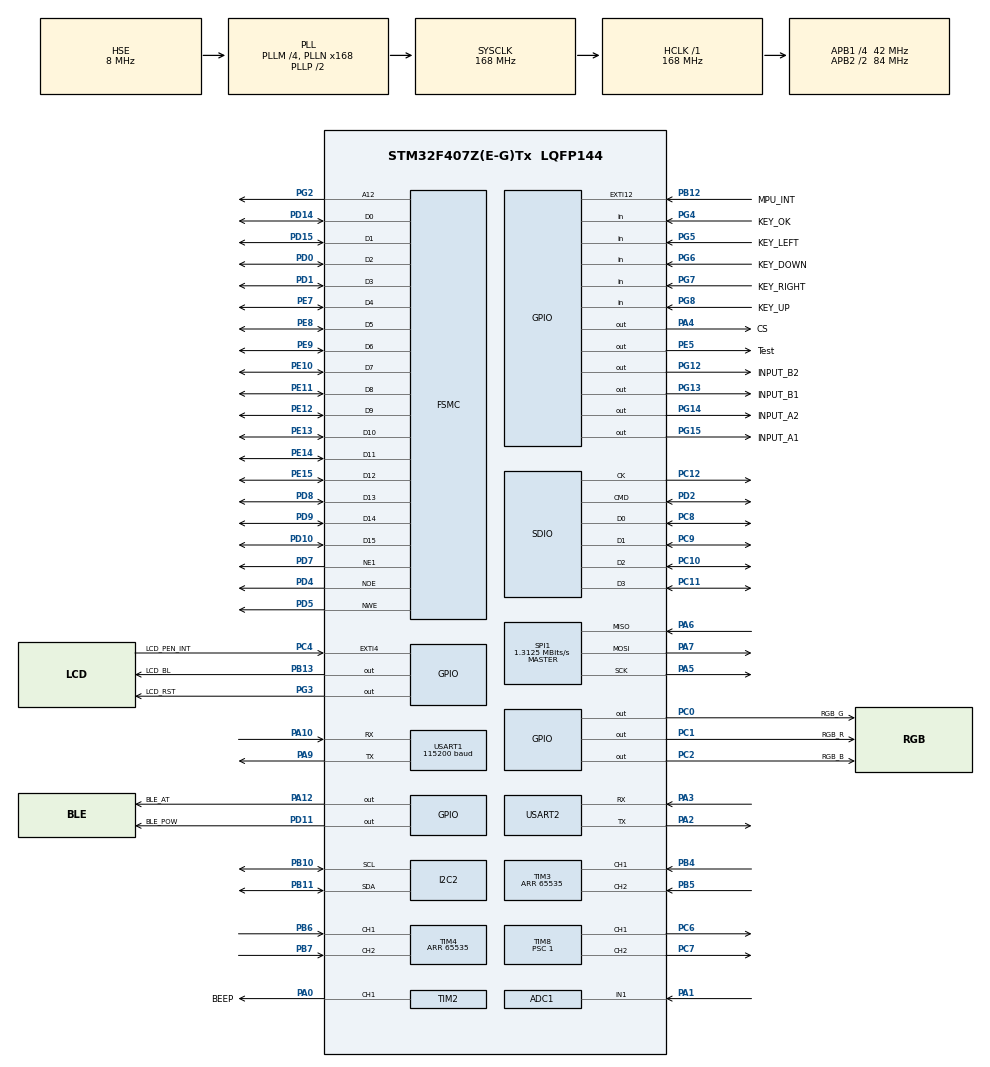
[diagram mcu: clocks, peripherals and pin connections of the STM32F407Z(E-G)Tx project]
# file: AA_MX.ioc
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ADC1.Channel-3\#ChannelRegularConversion=ADC_CHANNEL_1
ADC1.NbrOfConversionFlag=1
ADC1.Rank-3\#ChannelRegularConversion=1
ADC1.SamplingTime-3\#ChannelRegularConversion=ADC_SAMPLETIME_3CYCLES
ADC1.master=1
Dma.Request0=SDIO_RX
Dma.Request1=SDIO_TX
Dma.SDIO_RX.0.Direction=DMA_PERIPH_TO_MEMORY
Dma.SDIO_RX.0.FIFOMode=DMA_FIFOMODE_ENABLE
Dma.SDIO_RX.0.FIFOThreshold=DMA_FIFO_THRESHOLD_FULL
Dma.SDIO_RX.0.Instance=DMA2_Stream3
Dma.SDIO_RX.0.MemBurst=DMA_MBURST_INC4
Dma.SDIO_RX.0.MemDataAlignment=DMA_MDATAALIGN_WORD
Dma.SDIO_RX.0.MemInc=DMA_MINC_ENABLE
Dma.SDIO_RX.0.Mode=DMA_PFCTRL
Dma.SDIO_RX.0.PeriphBurst=DMA_PBURST_INC4
Dma.SDIO_RX.0.PeriphDataAlignment=DMA_PDATAALIGN_WORD
Dma.SDIO_RX.0.PeriphInc=DMA_PINC_DISABLE
Dma.SDIO_RX.0.Priority=DMA_PRIORITY_LOW
Dma.SDIO_TX.1.Direction=DMA_MEMORY_TO_PERIPH
Dma.SDIO_TX.1.FIFOMode=DMA_FIFOMODE_ENABLE
Dma.SDIO_TX.1.FIFOThreshold=DMA_FIFO_THRESHOLD_FULL
Dma.SDIO_TX.1.Instance=DMA2_Stream6
Dma.SDIO_TX.1.MemBurst=DMA_MBURST_INC4
Dma.SDIO_TX.1.MemDataAlignment=DMA_MDATAALIGN_WORD
Dma.SDIO_TX.1.MemInc=DMA_MINC_ENABLE
Dma.SDIO_TX.1.Mode=DMA_PFCTRL
Dma.SDIO_TX.1.PeriphBurst=DMA_PBURST_INC4
Dma.SDIO_TX.1.PeriphDataAlignment=DMA_PDATAALIGN_WORD
Dma.SDIO_TX.1.PeriphInc=DMA_PINC_DISABLE
Dma.SDIO_TX.1.Priority=DMA_PRIORITY_LOW
FATFS.USE_DMA_CODE_SD=1
FATFS._CODE_PAGE=850
FATFS._FS_NORTC=0
FATFS._FS_TIMEOUT=100
FATFS._MAX_SS=512
FATFS._STRF_ENCODE=0
FATFS._USE_LFN=2
FSMC.AddressSetupTime1=0
FSMC.DataSetupTime1=60
FSMC.ExtendedAddressSetupTime1=0
FSMC.ExtendedDataSetupTime1=2
FSMC.ExtendedMode1=FSMC_EXTENDED_MODE_ENABLE
I2C2.I2C_Mode=I2C_Fast
Mcu.Family=STM32F4
Mcu.Name=STM32F407Z(E-G)Tx
Mcu.Package=LQFP144
NVIC.ADC_IRQn=true\:2\:0\:true\:false\:true\:true\:true
NVIC.DMA2_Stream3_IRQn=true\:0\:0\:false\:false\:true\:false\:true
NVIC.DMA2_Stream6_IRQn=true\:0\:0\:false\:false\:true\:false\:true
NVIC.EXTI15_10_IRQn=true\:2\:0\:true\:false\:true\:true\:true
NVIC.EXTI4_IRQn=true\:2\:0\:true\:false\:true\:true\:true
NVIC.PriorityGroup=NVIC_PRIORITYGROUP_2
NVIC.SDIO_IRQn=true\:0\:0\:false\:false\:true\:true\:true
NVIC.TIM5_IRQn=true\:2\:0\:true\:false\:true\:true\:true
NVIC.TIM7_IRQn=true\:2\:0\:true\:false\:true\:true\:true
NVIC.USART1_IRQn=true\:2\:0\:true\:false\:true\:true\:true
NVIC.USART2_IRQn=true\:2\:0\:true\:false\:true\:true\:true
PA0-WKUP.GPIO_Label=BEEP
PA0-WKUP.Signal=S_TIM2_CH1_ETR
PA1.Signal=ADCx_IN1
PA10.Mode=Asynchronous
PA10.Signal=USART1_RX
PA11.Signal=S_TIM1_CH4
PA12.GPIO_Label=BLE_AT
PA12.PinState=GPIO_PIN_RESET
PA12.Signal=GPIO_Output
PA13.Mode=Serial_Wire
PA13.Signal=SYS_JTMS-SWDIO
PA14.Mode=Serial_Wire
PA14.Signal=SYS_JTCK-SWCLK
PA2.Mode=Asynchronous
PA2.Signal=USART2_TX
PA3.Mode=Asynchronous
PA3.Signal=USART2_RX
PA4.GPIO_Label=CS
PA4.GPIO_PuPd=GPIO_PULLUP
PA4.GPIO_Speed=GPIO_SPEED_FREQ_HIGH
PA4.PinState=GPIO_PIN_SET
PA4.Signal=GPIO_Output
PA5.Mode=Full_Duplex_Master
PA5.Signal=SPI1_SCK
PA6.Mode=Full_Duplex_Master
PA6.Signal=SPI1_MISO
PA7.GPIO_PuPd=GPIO_NOPULL
PA7.Mode=Full_Duplex_Master
PA7.Signal=SPI1_MOSI
PA8.Signal=S_TIM1_CH1
PA9.GPIO_PuPd=GPIO_PULLUP
PA9.Mode=Asynchronous
PA9.Signal=USART1_TX
PB10.Mode=I2C
PB10.Signal=I2C2_SCL
PB11.Mode=I2C
PB11.Signal=I2C2_SDA
PB12.GPIO_Label=MPU_INT
PB12.GPIO_ModeDefaultEXTI=GPIO_MODE_IT_FALLING
PB12.GPIO_PuPd=GPIO_NOPULL
PB12.Signal=GPXTI12
PB13.GPIO_Label=LCD_BL
PB13.Signal=GPIO_Output
PB4.Signal=S_TIM3_CH1
PB5.Signal=S_TIM3_CH2
PB6.Signal=S_TIM4_CH1
PB7.Signal=S_TIM4_CH2
PC0.GPIO_Label=RGB_G
PC0.PinState=GPIO_PIN_SET
PC0.Signal=GPIO_Output
PC1.GPIO_Label=RGB_R
PC1.PinState=GPIO_PIN_SET
PC1.Signal=GPIO_Output
PC10.GPIO_PuPd=GPIO_PULLUP
PC10.Mode=SD_4_bits_Wide_bus
PC10.Signal=SDIO_D2
PC11.GPIO_PuPd=GPIO_PULLUP
PC11.Mode=SD_4_bits_Wide_bus
PC11.Signal=SDIO_D3
PC12.Mode=SD_4_bits_Wide_bus
PC12.Signal=SDIO_CK
PC2.GPIO_Label=RGB_B
PC2.PinState=GPIO_PIN_SET
PC2.Signal=GPIO_Output
PC4.GPIO_Label=LCD_PEN_INT
PC4.GPIO_ModeDefaultEXTI=GPIO_MODE_IT_FALLING
PC4.GPIO_PuPd=GPIO_NOPULL
PC4.Signal=GPXTI4
PC6.Signal=S_TIM8_CH1
PC7.Signal=S_TIM8_CH2
PC8.GPIO_PuPd=GPIO_PULLUP
PC8.Mode=SD_4_bits_Wide_bus
PC8.Signal=SDIO_D0
PC9.GPIO_PuPd=GPIO_PULLUP
PC9.Mode=SD_4_bits_Wide_bus
PC9.Signal=SDIO_D1
PD0.Signal=FSMC_D2_DA2
PD1.Signal=FSMC_D3_DA3
PD10.Signal=FSMC_D15_DA15
PD11.GPIO_Label=BLE_POW
PD11.PinState=GPIO_PIN_SET
PD11.Signal=GPIO_Output
PD14.Signal=FSMC_D0_DA0
PD15.Signal=FSMC_D1_DA1
PD2.GPIO_PuPd=GPIO_PULLUP
PD2.Mode=SD_4_bits_Wide_bus
PD2.Signal=SDIO_CMD
PD4.Signal=FSMC_NOE
PD5.Signal=FSMC_NWE
PD7.Mode=NorPsramChipSelect1_1
PD7.Signal=FSMC_NE1
PD8.Signal=FSMC_D13_DA13
PD9.Signal=FSMC_D14_DA14
PE10.Signal=FSMC_D7_DA7
PE11.Signal=FSMC_D8_DA8
PE12.Signal=FSMC_D9_DA9
PE13.Signal=FSMC_D10_DA10
PE14.Signal=FSMC_D11_DA11
PE15.Signal=FSMC_D12_DA12
PE5.GPIO_Label=Test
PE5.Signal=GPIO_Output
PE6.Signal=S_TIM9_CH2
PE7.Signal=FSMC_D4_DA4
PE8.Signal=FSMC_D5_DA5
PE9.Signal=FSMC_D6_DA6
PG12.GPIO_Label=INPUT_B2
PG12.Signal=GPIO_Output
PG13.GPIO_Label=INPUT_B1
PG13.Signal=GPIO_Output
PG14.GPIO_Label=INPUT_A2
PG14.Signal=GPIO_Output
PG15.GPIO_Label=INPUT_A1
PG15.Signal=GPIO_Output
PG2.Signal=FSMC_A12
PG3.GPIO_Label=LCD_RST
PG3.PinState=GPIO_PIN_SET
PG3.Signal=GPIO_Output
PG4.GPIO_Label=KEY_OK
PG4.GPIO_PuPd=GPIO_PULLUP
PG4.Signal=GPIO_Input
PG5.GPIO_Label=KEY_LEFT
PG5.GPIO_PuPd=GPIO_PULLUP
PG5.Signal=GPIO_Input
PG6.GPIO_Label=KEY_DOWN
PG6.GPIO_PuPd=GPIO_PULLUP
PG6.Signal=GPIO_Input
PG7.GPIO_Label=KEY_RIGHT
PG7.GPIO_PuPd=GPIO_PULLUP
PG7.Signal=GPIO_Input
PG8.GPIO_Label=KEY_UP
PG8.GPIO_PuPd=GPIO_PULLUP
PG8.Signal=GPIO_Input
PH0-OSC_IN.Mode=HSE-External-Oscillator
PH0-OSC_IN.Signal=RCC_OSC_IN
PH1-OSC_OUT.Mode=HSE-External-Oscillator
PH1-OSC_OUT.Signal=RCC_OSC_OUT
ProjectManager.HeapSize=0x400
ProjectManager.StackSize=0x1000
ProjectManager.TargetToolchain=EWARM V8.32
RCC.48MHZClocksFreq_Value=48000000
RCC.AHBFreq_Value=168000000
RCC.APB1CLKDivider=RCC_HCLK_DIV4
RCC.APB1Freq_Value=42000000
RCC.APB1TimFreq_Value=84000000
RCC.APB2CLKDivider=RCC_HCLK_DIV2
RCC.APB2Freq_Value=84000000
RCC.APB2TimFreq_Value=168000000
RCC.CortexFreq_Value=168000000
RCC.HCLKFreq_Value=168000000
RCC.HSE_VALUE=8000000
RCC.HSI_VALUE=16000000
RCC.LSE_VALUE=32768
RCC.PLLM=4
RCC.PLLN=168
RCC.PLLQ=7
RCC.PLLSourceVirtual=RCC_PLLSOURCE_HSE
RCC.SYSCLKFreq_VALUE=168000000
RCC.SYSCLKSource=RCC_SYSCLKSOURCE_PLLCLK
RCC.VCOOutputFreq_Value=336000000
SDIO.ClockBypass=SDIO_CLOCK_BYPASS_DISABLE
SDIO.ClockDiv=2
SDIO.HardwareFlowControl=SDIO_HARDWARE_FLOW_CONTROL_ENABLE
SH.ADCx_IN1.0=ADC1_IN1,IN1
SH.FSMC_A12.0=FSMC_A12,A12_1
SH.FSMC_D0_DA0.0=FSMC_D0,16b-d1
SH.FSMC_D10_DA10.0=FSMC_D10,16b-d1
SH.FSMC_D11_DA11.0=FSMC_D11,16b-d1
SH.FSMC_D12_DA12.0=FSMC_D12,16b-d1
SH.FSMC_D13_DA13.0=FSMC_D13,16b-d1
SH.FSMC_D14_DA14.0=FSMC_D14,16b-d1
SH.FSMC_D15_DA15.0=FSMC_D15,16b-d1
SH.FSMC_D1_DA1.0=FSMC_D1,16b-d1
SH.FSMC_D2_DA2.0=FSMC_D2,16b-d1
SH.FSMC_D3_DA3.0=FSMC_D3,16b-d1
SH.FSMC_D4_DA4.0=FSMC_D4,16b-d1
SH.FSMC_D5_DA5.0=FSMC_D5,16b-d1
SH.FSMC_D6_DA6.0=FSMC_D6,16b-d1
SH.FSMC_D7_DA7.0=FSMC_D7,16b-d1
SH.FSMC_D8_DA8.0=FSMC_D8,16b-d1
SH.FSMC_D9_DA9.0=FSMC_D9,16b-d1
SH.FSMC_NOE.0=FSMC_NOE,Lcd1
SH.FSMC_NWE.0=FSMC_NWE,Lcd1
SH.S_TIM1_CH1.0=TIM1_CH1
SH.S_TIM1_CH4.0=TIM1_CH4
SH.S_TIM2_CH1_ETR.0=TIM2_CH1,PWM Generation1 CH1
SH.S_TIM3_CH1.0=TIM3_CH1,Encoder_Interface
SH.S_TIM3_CH2.0=TIM3_CH2,Encoder_Interface
SH.S_TIM4_CH1.0=TIM4_CH1,Encoder_Interface
SH.S_TIM4_CH2.0=TIM4_CH2,Encoder_Interface
SH.S_TIM8_CH1.0=TIM8_CH1,PWM Generation1 CH1
SH.S_TIM8_CH2.0=TIM8_CH2,PWM Generation2 CH2
SH.S_TIM9_CH2.0=TIM9_CH2
SPI1.BaudRatePrescaler=SPI_BAUDRATEPRESCALER_64
SPI1.CalculateBaudRate=1.3125 MBits/s
SPI1.Direction=SPI_DIRECTION_2LINES
SPI1.Mode=SPI_MODE_MASTER
SPI1.VirtualType=VM_MASTER
TIM2.Channel-PWM\ Generation1\ CH1=TIM_CHANNEL_1
TIM2.OCFastMode_PWM-PWM\ Generation1\ CH1=TIM_OCFAST_ENABLE
TIM2.Period=999
TIM2.Prescaler=83
TIM2.Pulse-PWM\ Generation1\ CH1=500
TIM3.EncoderMode=TIM_ENCODERMODE_TI12
TIM3.Period=65535
TIM4.EncoderMode=TIM_ENCODERMODE_TI12
TIM4.Period=65535
TIM5.Period=999
TIM5.Prescaler=83
TIM7.Period=1666
TIM7.Prescaler=839
TIM8.Channel-PWM\ Generation1\ CH1=TIM_CHANNEL_1
TIM8.Channel-PWM\ Generation2\ CH2=TIM_CHANNEL_2
TIM8.OCFastMode_PWM-PWM\ Generation1\ CH1=TIM_OCFAST_ENABLE
TIM8.OCFastMode_PWM-PWM\ Generation2\ CH2=TIM_OCFAST_ENABLE
TIM8.Period=4199
TIM8.Prescaler=1
USART1.BaudRate=115200
USART1.Mode=MODE_TX_RX
USART1.VirtualMode=VM_ASYNC
USART2.VirtualMode=VM_ASYNC
VP_FATFS_VS_SDIO.Mode=SDIO
VP_TIM2_VS_ClockSourceINT.Mode=Internal
VP_TIM5_VS_ClockSourceINT.Mode=Internal
VP_TIM6_VS_ClockSourceINT.Mode=Enable_Timer
VP_TIM7_VS_ClockSourceINT.Mode=Enable_Timer
VP_TIM8_VS_ClockSourceINT.Mode=Internal
VP_TIM9_VS_ClockSourceINT.Mode=Internal
board=custom

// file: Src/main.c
/* USER CODE BEGIN Header */
/**
  ******************************************************************************
  * @file           : main.c
  * @brief          : Main program body
  ******************************************************************************
  * @attention
  *
  * <h2><center>&copy; Copyright (c) 2020 STMicroelectronics.
  * All rights reserved.</center></h2>
  *
  * This software component is licensed by ST under BSD 3-Clause license,
  * the "License"; You may not use this file except in compliance with the
  * License. You may obtain a copy of the License at:
  *                        opensource.org/licenses/BSD-3-Clause
  *
  ******************************************************************************
  */
/* USER CODE END Header */
#include "main.h"
#include "adc.h"
#include "dma.h"
#include "fatfs.h"
#include "i2c.h"
#include "sdio.h"
#include "spi.h"
#include "tim.h"
#include "usart.h"
#include "gpio.h"
#include "fsmc.h"

/* USER CODE BEGIN Includes */
#include "stdio.h"
#include "string.h"
#include "ff.h"
#include "LCD_TFT.h"
#include "OLED.h"
#include "MPU6050.h"
#include "DC_Control.h"
#include "BLE_Control.h"
#include "Warning.h"
#include "Music.h"
#include "DC_PID.h"
#include "LCD_RTS.h"
#include "Tim_Delay.h"
#include "RGB_LED.h"
#include "Key.h"
#include "Menu.h"
#include "Call_Back.h"
#include "Load.h"
#include "My_UI.h"
#include "TMP_Control.h"
/* USER CODE END Includes */

/* USER CODE BEGIN PV */
extern uint8_t MPU_DMP_Flg;
extern uint8_t Show_Flg;
extern float Pitch,Roll,Yaw;
extern int16_t Blance_PWM;
uint8_t InterfaceCmd[15] = {0};
uint8_t InterfaceData[15] = {0};
int16_t XXTMP = 2100;
uint8_t XXflg = 1;
/* USER CODE END PV */

void SystemClock_Config(void);

int main(void)
{

  /* MCU Configuration--------------------------------------------------------*/

  /* Reset of all peripherals, Initializes the Flash interface and the Systick. */
  HAL_Init();

  /* Configure the system clock */
  SystemClock_Config();

  /* Initialize all configured peripherals */
  MX_GPIO_Init();
  MX_ADC1_Init();
  MX_FSMC_Init();
  MX_I2C2_Init();
  MX_TIM2_Init();
  MX_TIM3_Init();
  MX_TIM4_Init();
  MX_TIM8_Init();
  MX_TIM9_Init();
  MX_USART1_UART_Init();
  MX_TIM5_Init();
  MX_SPI1_Init();
  MX_TIM6_Init();
  MX_SDIO_SD_Init();
  MX_USART2_UART_Init();
  MX_FATFS_Init();
  MX_TIM7_Init();
  MX_DMA_Init();
  /* USER CODE BEGIN 2 */
  __HAL_UART_ENABLE_IT(&huart1, UART_IT_RXNE);
  __HAL_UART_ENABLE_IT(&huart1, UART_IT_IDLE);
  __HAL_UART_ENABLE_IT(&huart2, UART_IT_RXNE);
  __HAL_UART_ENABLE_IT(&huart2, UART_IT_IDLE);

  UI_init();

  /* USER CODE END 2 */

  /* Infinite loop */
  /* USER CODE BEGIN WHILE */

  DM_DIR_CTL_L(Dir_N);
  DM_DIR_CTL_R(Dir_N);
  DM_PWM_Engage(DisEngage);
  DM_EncodeStop();
  BLE_Power(BLE_OFF);

  while (1)
  {
      if(MPU_DMP_Flg)
      {
          MPU_DMP_Flg = 0;
          LCD_ShowFNum(&LCD_Prop, 48, 0, Pitch, 4, 8, 1);
      }
      if(TMP_StartFlg && TMP_ShowFlg)
      {
          TMP_ShowFlg = 0;
          LCD_ShowString(&LCD_Prop, 0, 0, "Tmp Set:", 8, 1);
          LCD_ShowString(&LCD_Prop, 0, 16, "Tmp Now:", 8, 1);
          LCD_ShowFNum(&LCD_Prop, 64, 0, TMP_Set, 4, 8, 1);
          LCD_ShowFNum(&LCD_Prop, 64, 16, TMP_Now, 4, 8, 1);
      }
      Menu_Execute(Key_StateData());
      Menu_Execute(BLE_GetRemoteState());
      if(!Keyboard_StateData(&My_Keyboard, InterfaceCmd))
      {
          if(InterfaceCmd[0] == 0x00 || InterfaceCmd[0] == 0x01 || InterfaceCmd[0] == 0x02)
          {
              Menu_Execute(InterfaceCmd);
          }
//          else if(InterfaceCmd[0] == 0x01)
//          {
//              memset(InterfaceData, 0x00, 15);
//              InterfaceData[0] = InterfaceCmd[1];
//              LCD_ShowString(&LCD_Prop, 16, 0, (char*)InterfaceData, 8, 1);
//          }
//          else if(InterfaceCmd[0] == 0x02)
//          {
//          }
          else if(InterfaceCmd[0] == 0x03)
          {
              LCD_SetColor(&LCD_Prop, BLUE, BLACK);
              if(My_Keyboard.T_Flg)
              {
                  LCD_ShowString(&LCD_Prop, 0, 144, "T", 8, 1);
              }
              else if(My_Keyboard.S_Flg)
              {
                  LCD_ShowString(&LCD_Prop, 0, 144, "S", 8, 1);
              }
              else
              {
                  LCD_ShowString(&LCD_Prop, 0, 144, " ", 8, 1);
              }
          }

      }
    /* USER CODE END WHILE */

  }
}

void SystemClock_Config(void)
{
  RCC_OscInitTypeDef RCC_OscInitStruct = {0};
  RCC_ClkInitTypeDef RCC_ClkInitStruct = {0};

  /** Configure the main internal regulator output voltage
  */
  __HAL_RCC_PWR_CLK_ENABLE();
  __HAL_PWR_VOLTAGESCALING_CONFIG(PWR_REGULATOR_VOLTAGE_SCALE1);
  /** Initializes the RCC Oscillators according to the specified parameters
  * in the RCC_OscInitTypeDef structure.
  */
  RCC_OscInitStruct.OscillatorType = RCC_OSCILLATORTYPE_HSE;
  RCC_OscInitStruct.HSEState = RCC_HSE_ON;
  RCC_OscInitStruct.PLL.PLLState = RCC_PLL_ON;
  RCC_OscInitStruct.PLL.PLLSource = RCC_PLLSOURCE_HSE;
  RCC_OscInitStruct.PLL.PLLM = 4;
  RCC_OscInitStruct.PLL.PLLN = 168;
  RCC_OscInitStruct.PLL.PLLP = RCC_PLLP_DIV2;
  RCC_OscInitStruct.PLL.PLLQ = 7;
  if (HAL_RCC_OscConfig(&RCC_OscInitStruct) != HAL_OK)
  {
    Error_Handler();
  }
  /** Initializes the CPU, AHB and APB buses clocks
  */
  RCC_ClkInitStruct.ClockType = RCC_CLOCKTYPE_HCLK|RCC_CLOCKTYPE_SYSCLK
                              |RCC_CLOCKTYPE_PCLK1|RCC_CLOCKTYPE_PCLK2;
  RCC_ClkInitStruct.SYSCLKSource = RCC_SYSCLKSOURCE_PLLCLK;
  RCC_ClkInitStruct.AHBCLKDivider = RCC_SYSCLK_DIV1;
  RCC_ClkInitStruct.APB1CLKDivider = RCC_HCLK_DIV4;
  RCC_ClkInitStruct.APB2CLKDivider = RCC_HCLK_DIV2;

  if (HAL_RCC_ClockConfig(&RCC_ClkInitStruct, FLASH_LATENCY_5) != HAL_OK)
  {
    Error_Handler();
  }
}

void Error_Handler(void)
{
}

/************************ (C) COPYRIGHT STMicroelectronics *****END OF FILE****/
